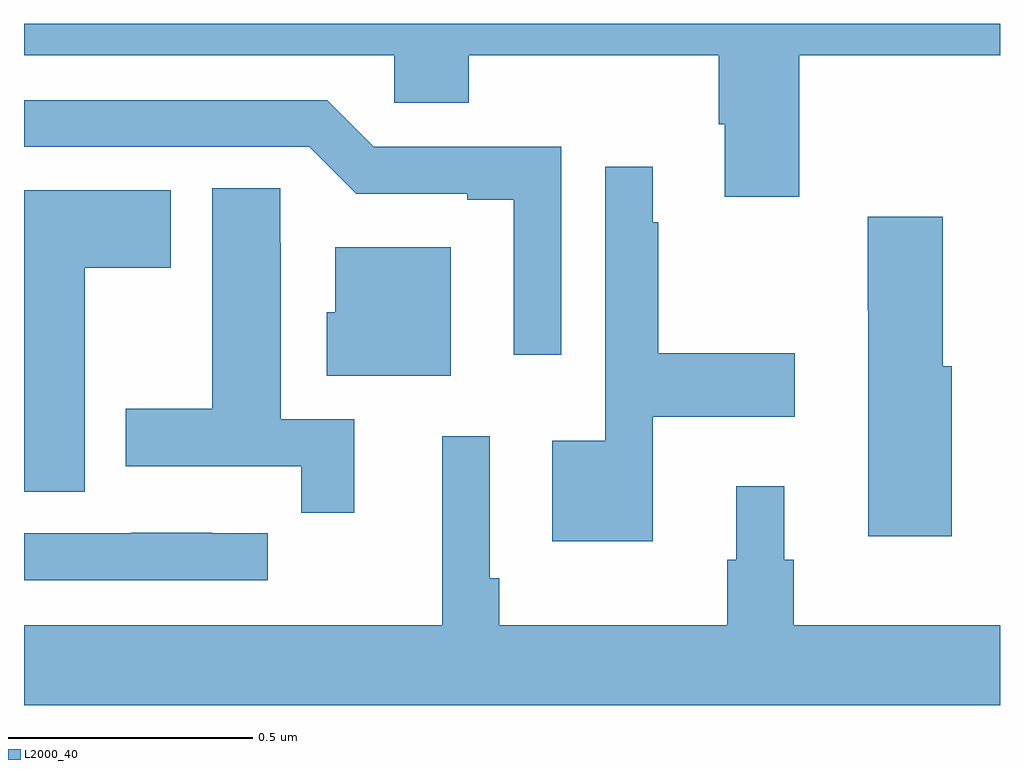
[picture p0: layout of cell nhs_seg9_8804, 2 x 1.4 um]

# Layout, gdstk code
import gdstk
lib = gdstk.Library(unit=1e-6, precision=1e-09)
def P(c, l, *ps):  # polygons
    for p in ps: c.add(gdstk.Polygon(p, *l))
L2000_40 = (2000, 40)

nhs_seg9_8804 = lib.new_cell('nhs_seg9_8804')
P(nhs_seg9_8804, L2000_40, [(223.589,1180.436),(224,1180.436),(224,1180.5),(222,1180.5),(222,1180.436),(222.759,1180.436),(222.759,1180.338),(222.911,1180.338),(222.911,1180.436),(223.424,1180.436),(223.424,1180.294),(223.436,1180.294),(223.436,1180.146),(223.589,1180.146)],
  [(223.101,1180.248),(222.717,1180.248),(222.621,1180.344),(222,1180.344),(222,1180.248),(222.585,1180.248),(222.681,1180.152),(222.908,1180.152),(222.908,1180.14),(223.004,1180.14),(223.004,1179.822),(223.101,1179.822)],
  [(223.288,1179.695),(223.579,1179.695),(223.579,1179.825),(223.3,1179.825),(223.3,1180.094),(223.288,1180.094),(223.288,1180.207),(223.191,1180.207),(223.191,1179.646),(223.082,1179.646),(223.082,1179.44),(223.288,1179.44)],
  [(222.677,1179.69),(222.526,1179.69),(222.526,1180.052),(222.525,1180.052),(222.525,1180.163),(222.386,1180.163),(222.386,1179.711),(222.209,1179.711),(222.209,1179.594),(222.568,1179.594),(222.568,1179.498),(222.677,1179.498)],
  [(222.124,1180),(222.301,1180),(222.301,1180.159),(222,1180.159),(222,1179.541),(222.124,1179.541)],
  [(223.901,1179.798),(223.883,1179.798),(223.883,1180.105),(223.729,1180.105),(223.729,1179.913),(223.73,1179.913),(223.73,1179.45),(223.901,1179.45)],
  [(222.874,1180.042),(222.638,1180.042),(222.638,1179.909),(222.62,1179.909),(222.62,1179.779),(222.874,1179.779)],
  [(224,1179.268),(223.577,1179.268),(223.577,1179.402),(223.558,1179.402),(223.558,1179.553),(223.46,1179.553),(223.46,1179.402),(223.441,1179.402),(223.441,1179.268),(222.974,1179.268),(222.974,1179.364),(222.954,1179.364),(222.954,1179.655),(222.857,1179.655),(222.857,1179.268),(222,1179.268),(222,1179.104),(224,1179.104)],
  [(222.499,1179.456),(222.386,1179.456),(222.386,1179.457),(222.22,1179.457),(222.22,1179.456),(222,1179.456),(222,1179.36),(222.499,1179.36)])

lib.write_gds('nhs_seg9_8804.gds')
